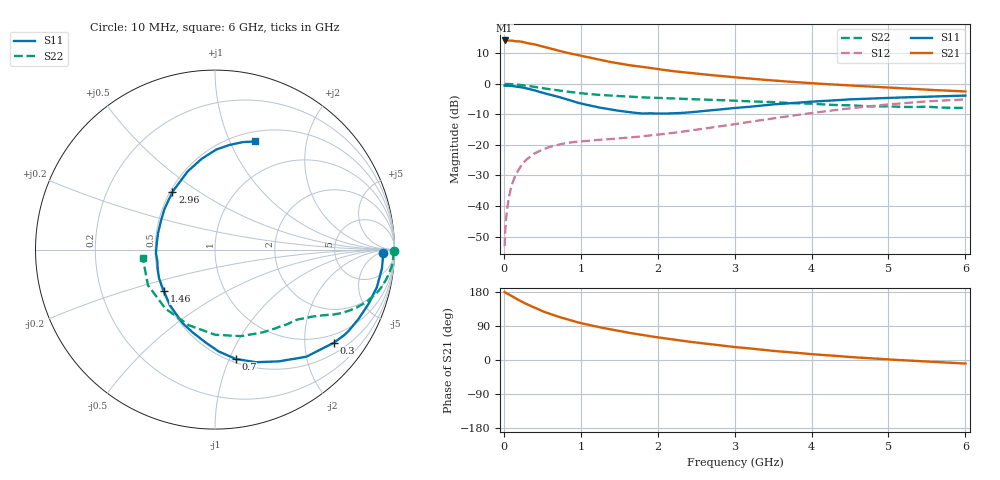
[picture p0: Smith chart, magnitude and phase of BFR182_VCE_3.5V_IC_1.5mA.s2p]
! Infineon Technologies  Discrete & RF Semiconductors
! BFR182
! VCE =  3.5 V,  IC =  1.5 mA
! Common Emitter S-Parameters:  Nov 2015
# GHz  S  MA  R  50
!  f  S11  S21  S12  S22
! GHz  MAG  ANG  MAG  ANG  MAG  ANG  MAG  ANG
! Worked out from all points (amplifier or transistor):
!   210 points, 10 MHz to 6 GHz, reference 50 ohm
!   highest |S21| = 14.2 dB at 10 MHz (marker M1)
!   |S21| within 3 dB of that: start of sweep to 662.2 MHz
!   unconditionally stable (mu >= 1): 1.602 GHz to 3.173 GHz
!   at 185 MHz: K = 0.16, MSG = 21.2 dB, |S12| = -28.4 dB
!   at 1.52 GHz: K = 0.97, MSG = 12.2 dB, |S12| = -17.8 dB
!   at 6 GHz: K = 0.91, MSG = 1.3 dB, |S12| = -5.1 dB
!   S11 on the Smith chart (normalised r, x): 10 MHz: 27, -9; 300 MHz: 0.76, -2.71; 700 MHz: 0.53, -1.06; 1.46 GHz: 0.51, -0.27; 2.96 GHz: 0.52, +0.39; 6 GHz: 0.61, +1.25
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0.01  0.9365 -1.3  5.135 179.2  0.0022 89.9  0.9973 -0.6
0.02  0.9368 -2.6  5.036 177.6  0.0042 86.1  0.9932 -1.1
0.035  0.9359 -4.5  5.078 176.0  0.0072 86.0  0.9938 -1.9
0.09  0.9271 -11.7  5.12 170.2  0.019 82.0  0.9903 -4.9
0.2  0.8883 -25.7  4.969 157.5  0.0406 74.5  0.9641 -10.6
0.26  0.8633 -33.5  4.811 151.1  0.0518 70.5  0.9448 -13.5
0.3  0.8411 -38.1  4.658 147.1  0.0582 68.3  0.931 -15.2
0.4  0.784 -49.6  4.43 138.2  0.0726 62.7  0.8939 -19.0
0.5  0.7175 -60.2  4.108 128.9  0.0836 57.6  0.852 -22.3
0.7  0.6196 -79.3  3.542 114.8  0.1004 50.8  0.7819 -27.0
0.9  0.5168 -96.4  3.079 102.5  0.1111 46.3  0.7253 -30.1
1.02  0.4709 -106.8  2.857 96.4  0.1147 45.2  0.698 -31.7
1.2  0.4189 -121.4  2.555 88.1  0.1198 44.3  0.6659 -34.0
1.46  0.3674 -140.8  2.201 78.2  0.127 44.6  0.6347 -36.8
1.7  0.3364 -161.8  1.973 69.3  0.1344 46.6  0.61 -39.4
2.02  0.3265 175.6  1.732 59.3  0.1483 49.8  0.5879 -43.3
2.4  0.3407 152.2  1.52 48.5  0.17 53.6  0.5637 -49.1
2.96  0.3973 126.6  1.296 35.2  0.2147 55.9  0.5328 -59.6
3.1  0.4114 121.7  1.25 32.4  0.2287 55.8  0.5234 -62.9
4.1  0.5191 96.5  1.006 14.0  0.345 50.2  0.4646 -93.5
5.1  0.5944 80.6  0.859 0.3  0.4715 37.0  0.4232 -134.3
6  0.6426 69.6  0.751 -9.3  0.5578 21.9  0.4053 -173.7
